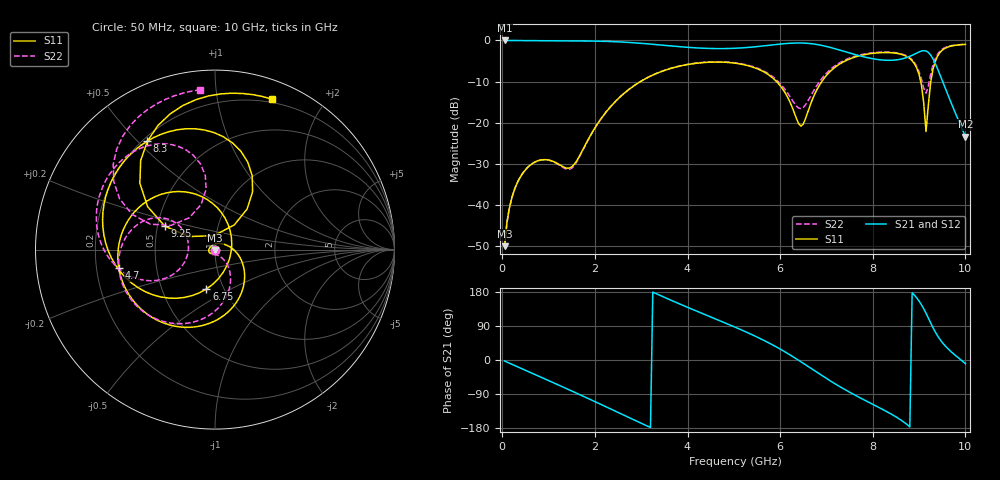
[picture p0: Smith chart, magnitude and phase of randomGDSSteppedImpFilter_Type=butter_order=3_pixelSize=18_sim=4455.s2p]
! freq	dB(S11)	phase(S11)	dB(S12)	phase(S12)
!  dB(S21)	phase(S21)	dB(S22)	phase(S22)
!S-par simulation data
#  GHz  S  DB  R 50
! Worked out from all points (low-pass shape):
!   200 points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, 50 MHz to 10 GHz, reference 50 ohm
!   highest |S21| = 0.00 dB at 50 MHz (marker M1); lowest = -23.4 dB at 10 GHz (marker M2)
!   |S21| within 3 dB of the highest: start of sweep to 7.485 GHz; 8.96 GHz to 9.207 GHz (247 MHz wide, 2.72 % of centre)
!   lowest |S11| = -50.0 dB at 50 MHz (marker M3), VSWR 1.01, Z = 50 - j0.315 ohm
!   |S11| at or under -10 dB: start of sweep to 2.985 GHz; 5.922 GHz to 6.899 GHz (976.9 MHz wide, 15.2 % of centre); 9.034 GHz to 9.253 GHz (219 MHz wide, 2.39 % of centre)
!   |S22| runs from -50.0 to -1.0 dB; largest |S21 - S12| = 0
!   S11 on the Smith chart (normalised r, x): 50 MHz: 1.00, -0.01; 4.7 GHz: 0.30, -0.09; 6.75 GHz: 0.83, -0.38; 8.3 GHz: 0.22, +0.53; 9.25 GHz: 0.55, +0.16; 10 GHz: 0.17, +1.43
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0.05  -50.02 -86.1  -0.00 -2.8  -0.00 -2.8  -50.03 -84.1
0.2  -38.53 -102.2  -0.02 -10.9  -0.02 -10.9  -38.48 -96.1
0.5  -31.46 -125.5  -0.04 -27.2  -0.04 -27.2  -31.42 -109.0
1.45  -31.03 111.9  -0.09 -79.0  -0.09 -79.0  -31.34 -91.8
1.75  -26.33 42.4  -0.12 -95.7  -0.12 -95.7  -26.47 -54.2
2.65  -12.68 -44.8  -0.43 -147.0  -0.43 -147.0  -12.66 -70.1
3.4  -7.71 -94.2  -1.09 170.8  -1.09 170.8  -7.67 -104.8
4.7  -5.26 -169.3  -1.99 103.5  -1.99 103.5  -5.20 -162.6
5.05  -5.56 170.2  -1.89 85.5  -1.89 85.5  -5.48 -177.4
5.8  -8.77 117.9  -1.13 42.3  -1.13 42.3  -8.50 151.8
6.45  -20.85 -8.6  -0.62 -4.8  -0.62 -4.8  -16.59 179.1
6.7  -14.26 -93.8  -0.83 -24.9  -0.83 -24.9  -12.69 -150.8
6.75  -12.97 -102.3  -0.90 -29.0  -0.90 -29.0  -11.73 -149.6
7.55  -4.29 176.5  -3.22 -88.3  -3.22 -88.3  -4.07 178.8
8.3  -2.94 122.2  -4.83 -136.1  -4.83 -136.1  -2.83 140.3
8.35  -2.96 118.6  -4.83 -139.4  -4.83 -139.4  -2.84 137.6
8.95  -6.72 63.3  -3.06 163.8  -3.06 163.8  -6.31 99.6
9.05  -10.79 51.6  -2.58 145.9  -2.58 145.9  -9.39 98.4
9.15  -22.14 95.0  -2.57 123.3  -2.57 123.3  -12.84 129.2
9.25  -10.20 154.9  -3.55 97.7  -3.55 97.7  -8.24 158.5
9.55  -1.98 108.3  -11.16 39.2  -11.16 39.2  -1.79 129.3
10  -0.95 69.4  -23.37 -9.5  -23.37 -9.5  -0.97 95.2
